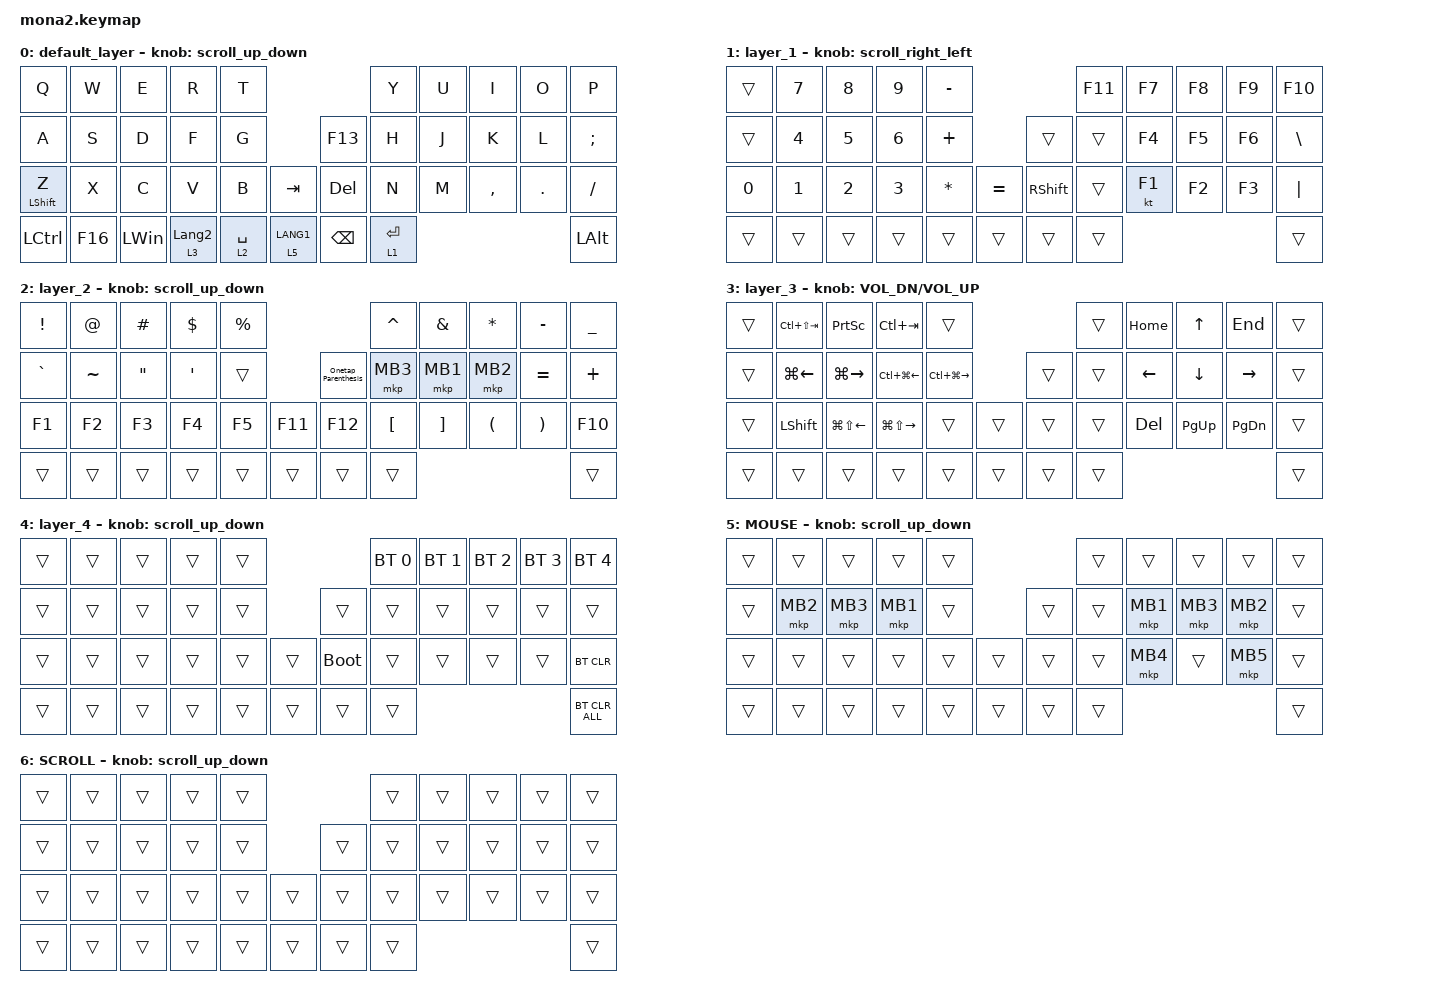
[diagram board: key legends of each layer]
#include <input/processors.dtsi>
#include <dt-bindings/zmk/input_transform.h>
#include <zephyr/dt-bindings/input/input-event-codes.h>
#include <behaviors.dtsi>
#include <dt-bindings/zmk/bt.h>
#include <dt-bindings/zmk/keys.h>
#include <dt-bindings/zmk/pointing.h>

#define ZMK_POINTING_DEFAULT_SCRL_VAL 100
#define MOUSE 5
#define SCROLL 6

&mt {
    flavor = "balanced";
    quick-tap-ms = <0>;
};

&lt {
    quick-tap-ms = <300>;
    flavor = "balanced";
};

/ {
    combos {
        compatible = "zmk,combos";

        layer4_ESC {
            bindings = <&lt 4 ESC>;
            key-positions = <39 38>;
        };

        tab {
            bindings = <&kp TAB>;
            key-positions = <11 12>;
        };
    };

    macros {
        to_layer_0: to_layer_0 {
            compatible = "zmk,behavior-macro-one-param";
            #binding-cells = <1>;
            bindings = <&to 0 &macro_param_1to1 &kp MACRO_PLACEHOLDER>;
            label = "TO_LAYER_0";
        };

        kp_exit_AML: exit_AML {
            compatible = "zmk,behavior-macro";
            #binding-cells = <0>;
            bindings = <&macro_release>, <&toggle_off_behavior 0>;

            label = "EXIT_AML";
        };

        Onetap_Parenthesis: onetap_bracket {
            compatible = "zmk,behavior-macro";
            #binding-cells = <0>;
            bindings =
                <&kp LANG1>,
                <&macro_release>,
                <&kp LPAR &kp RPAR &kp LEFT>;

            label = "ONETAP_BRACKET";
        };
    };

    behaviors {
        lt_to_layer_0: lt_to_layer_0 {
            compatible = "zmk,behavior-hold-tap";
            label = "LAYER_TAP_TO_0";
            bindings = <&mo>, <&to_layer_0>;

            #binding-cells = <2>;
            tapping-term-ms = <200>;
        };

        scroll_up_down: mouse_wheel_up_down {
            compatible = "zmk,behavior-sensor-rotate";
            #sensor-binding-cells = <0>;
            bindings = <&msc SCRL_DOWN>, <&msc SCRL_UP>;

            tap-ms = <20>;
        };

        scroll_right_left: mouse_wheel_right_left {
            compatible = "zmk,behavior-sensor-rotate";
            #sensor-binding-cells = <0>;
            bindings = <&msc SCRL_LEFT>, <&msc SCRL_RIGHT>;

            tap-ms = <20>;
        };

        toggle_off_behavior: toggle_off_behavior {
            compatible = "zmk,behavior-toggle-layer";
            label = "TOGGLE_OFF_BEHAVIOR";
            #binding-cells = <1>;
            toggle-mode = "off";
        };

        mt_exit_AML_on_tap: mt_exit_AML_on_tap {
            compatible = "zmk,behavior-hold-tap";
            label = "MT_EXIT_AML_ON_TAP";
            bindings = <&kp>, <&kp_exit_AML>;

            #binding-cells = <2>;
            tapping-term-ms = <0>;
            flavor = "hold-preferred";
        };
    };

    keymap {
        compatible = "zmk,keymap";

        default_layer {
            bindings = <
&kp Q             &kp W    &kp E         &kp R                        &kp T                                                 &kp Y        &kp U  &kp I      &kp O    &kp P
&kp A             &kp S    &kp D         &kp F                        &kp G                                  &kp F13        &kp H        &kp J  &kp K      &kp L    &kp SEMICOLON
&mt LEFT_SHIFT Z  &kp X    &kp C         &kp V                        &kp B        &kp TAB                   &kp DELETE     &kp N        &kp M  &kp COMMA  &kp DOT  &kp SLASH
&kp LCTRL         &kp F16  &kp LEFT_WIN  &lt_to_layer_0 3 LANGUAGE_2  &lt 2 SPACE  &lt_to_layer_0 5 LANG1    &kp BACKSPACE  &lt 1 ENTER                             &kp LEFT_ALT
            >;

            sensor-bindings = <&scroll_up_down>;
        };

        layer_1 {
            bindings = <
&trans        &kp NUMBER_7  &kp NUMBER_8  &kp NUMBER_9  &kp MINUS                                &kp F11  &kp F7  &kp F8  &kp F9  &kp F10
&trans        &kp NUMBER_4  &kp NUMBER_5  &kp NUMBER_6  &kp PLUS                &trans           &trans   &kp F4  &kp F5  &kp F6  &kp BACKSLASH
&kp NUMBER_0  &kp NUMBER_1  &kp NUMBER_2  &kp NUMBER_3  &kp ASTRK  &kp EQUAL    &kp RIGHT_SHIFT  &trans   &kt F1  &kp F2  &kp F3  &kp PIPE
&trans        &trans        &trans        &trans        &trans     &trans       &trans           &trans                           &trans
            >;

            sensor-bindings = <&scroll_right_left>;
        };

        layer_2 {
            bindings = <
&kp EXCLAMATION  &kp AT_SIGN  &kp POUND          &kp DOLLAR  &kp PERCENT                                  &kp CARET         &kp AMPERSAND      &kp ASTERISK          &kp MINUS              &kp UNDERSCORE
&kp GRAVE        &kp TILDE    &kp DOUBLE_QUOTES  &kp SQT     &trans                  &Onetap_Parenthesis  &mkp MB3          &mkp MB1           &mkp MB2              &kp EQUAL              &kp PLUS
&kp F1           &kp F2       &kp F3             &kp F4      &kp F5       &kp F11    &kp F12              &kp LEFT_BRACKET  &kp RIGHT_BRACKET  &kp LEFT_PARENTHESIS  &kp RIGHT_PARENTHESIS  &kp F10
&trans           &trans       &trans             &trans      &trans       &trans     &trans               &trans                                                                            &trans
            >;

            sensor-bindings = <&scroll_up_down>;
        };

        layer_3 {
            bindings = <
&trans  &kp LC(LS(TAB))     &kp PRINTSCREEN         &kp LC(TAB)              &trans                                     &trans  &kp HOME        &kp UP_ARROW    &kp END          &trans
&trans  &kp LG(LEFT_ARROW)  &kp LG(RIGHT_ARROW)     &kp LC(LG(LEFT_ARROW))   &kp LC(LG(RIGHT_ARROW))            &trans  &trans  &kp LEFT_ARROW  &kp DOWN_ARROW  &kp RIGHT_ARROW  &trans
&trans  &kp LEFT_SHIFT      &kp LG(LS(LEFT_ARROW))  &kp LG(LS(RIGHT_ARROW))  &trans                   &trans    &trans  &trans  &kp DELETE      &kp PAGE_UP     &kp PAGE_DOWN    &trans
&trans  &trans              &trans                  &trans                   &trans                   &trans    &trans  &trans                                                   &trans
            >;

            sensor-bindings = <&inc_dec_kp C_VOL_DN C_VOL_UP>;
        };

        layer_4 {
            bindings = <
&trans  &trans  &trans  &trans  &trans                         &bt BT_SEL 0  &bt BT_SEL 1  &bt BT_SEL 2  &bt BT_SEL 3  &bt BT_SEL 4
&trans  &trans  &trans  &trans  &trans            &trans       &trans        &trans        &trans        &trans        &trans
&trans  &trans  &trans  &trans  &trans  &trans    &bootloader  &trans        &trans        &trans        &trans        &bt BT_CLR
&trans  &trans  &trans  &trans  &trans  &trans    &trans       &trans                                                  &bt BT_CLR_ALL
            >;

            sensor-bindings = <&scroll_up_down>;
        };

        MOUSE {
            bindings = <
&trans  &trans    &trans    &trans    &trans                    &trans  &trans    &trans    &trans    &trans
&trans  &mkp MB2  &mkp MB3  &mkp MB1  &trans            &trans  &trans  &mkp MB1  &mkp MB3  &mkp MB2  &trans
&trans  &trans    &trans    &trans    &trans  &trans    &trans  &trans  &mkp MB4  &trans    &mkp MB5  &trans
&trans  &trans    &trans    &trans    &trans  &trans    &trans  &trans                                &trans
            >;

            sensor-bindings = <&scroll_up_down>;
        };

        SCROLL {
            bindings = <
&trans  &trans  &trans  &trans  &trans                    &trans  &trans  &trans  &trans  &trans
&trans  &trans  &trans  &trans  &trans            &trans  &trans  &trans  &trans  &trans  &trans
&trans  &trans  &trans  &trans  &trans  &trans    &trans  &trans  &trans  &trans  &trans  &trans
&trans  &trans  &trans  &trans  &trans  &trans    &trans  &trans                          &trans
            >;

            sensor-bindings = <&scroll_up_down>;
        };
    };
};
